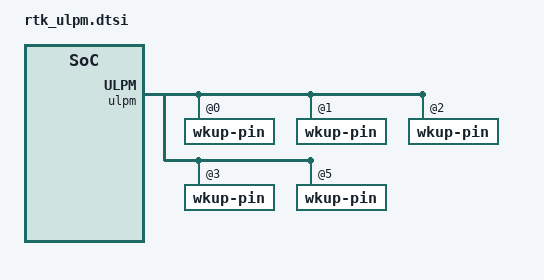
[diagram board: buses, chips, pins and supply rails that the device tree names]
&ulpm {
    status = "okay";

    wkup-pin@0 {
			reg = <0x0>;
			/* wkup-pin-pol; */
			wkup-pin-pol-auto;
			wkup-pin-mode = "gpio";
		};

		wkup-pin@1 {
			reg = <0x1>;
			/* wkup-pin-pol; */
			wkup-pin-pol-auto;
			wkup-pin-mode = "gpio";
		};

		wkup-pin@2 {
			reg = <0x2>;
			/* wkup-pin-pol; */
			wkup-pin-pol-auto;
			wkup-pin-mode = "gpio";
		};

		wkup-pin@3 {
			reg = <0x3>;
			/* wkup-pin-pol; */
			wkup-pin-pol-auto;
			wkup-pin-mode = "vin";
		};

		wkup-pin@5 {
			reg = <0x5>;
			/* wkup-pin-pol; */
			wkup-pin-pol-auto;
			wkup-pin-mode = "gpio";
		};
};
